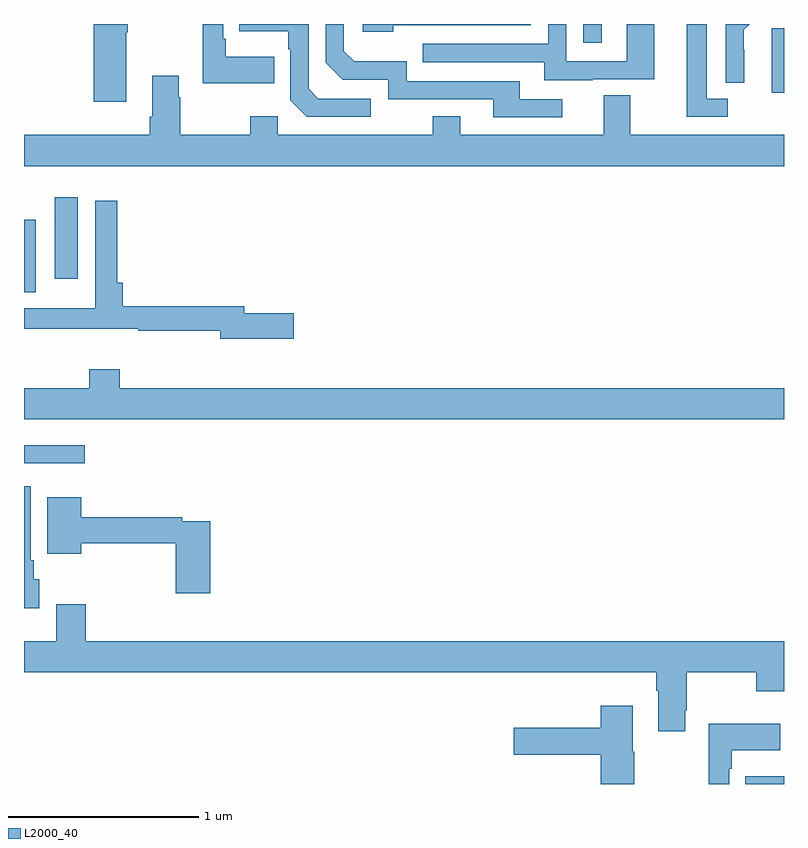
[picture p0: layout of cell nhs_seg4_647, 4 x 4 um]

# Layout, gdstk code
import gdstk
lib = gdstk.Library(unit=1e-6, precision=1e-09)
def R(c, l, rs):  # rectangles x0, y0, x1, y1
    for r in rs: c.add(gdstk.rectangle(r[:2], r[2:], *l))
def P(c, l, *ps):  # polygons
    for p in ps: c.add(gdstk.Polygon(p, *l))
L2000_40 = (2000, 40)

nhs_seg4_647 = lib.new_cell('nhs_seg4_647')
R(nhs_seg4_647, L2000_40, [(146.797,794.9,147,794.941), (143,796.587,143.32,796.684), (143,797.488,143.062,797.869), (143.162,797.559,143.284,797.989), (146.936,798.537,147,798.877), (145.944,798.801,146.041,798.9)])
P(nhs_seg4_647, L2000_40, [(143.539,798.857),(143.547,798.857),(143.547,798.9),(143.366,798.9),(143.366,798.492),(143.539,798.492)],
  [(145.993,798.609),(146.317,798.609),(146.317,798.9),(146.172,798.9),(146.172,798.705),(145.854,798.705),(145.854,798.9),(145.758,798.9),(145.758,798.795),(145.099,798.795),(145.099,798.699),(145.739,798.699),(145.739,798.605),(145.993,798.605)],
  [(145.834,798.504),(145.609,798.504),(145.609,798.6),(145.014,798.6),(145.014,798.703),(144.737,798.703),(144.684,798.756),(144.684,798.9),(144.588,798.9),(144.588,798.696),(144.678,798.606),(144.918,798.606),(144.918,798.504),(145.469,798.504),(145.469,798.408),(145.834,798.408)],
  [(144.317,798.727),(144.061,798.727),(144.061,798.823),(144.048,798.823),(144.048,798.9),(143.94,798.9),(143.94,798.587),(144.317,798.587)],
  [(144.944,798.894),(145.668,798.894),(145.668,798.9),(144.783,798.9),(144.783,798.86),(144.944,798.86)],
  [(146.791,798.764),(146.789,798.764),(146.789,798.869),(146.82,798.9),(146.694,798.9),(146.694,798.592),(146.791,798.592)],
  [(146.704,798.507),(146.593,798.507),(146.593,798.9),(146.489,798.9),(146.489,798.411),(146.704,798.411)],
  [(144.826,798.507),(144.549,798.507),(144.498,798.558),(144.498,798.9),(144.133,798.9),(144.133,798.863),(144.39,798.863),(144.39,798.767),(144.402,798.767),(144.402,798.498),(144.489,798.411),(144.826,798.411)],
  [(147,798.316),(146.191,798.316),(146.191,798.524),(146.051,798.524),(146.051,798.316),(145.297,798.316),(145.297,798.415),(145.15,798.415),(145.15,798.316),(144.336,798.316),(144.336,798.415),(144.19,798.415),(144.19,798.316),(143.823,798.316),(143.823,798.515),(143.815,798.515),(143.815,798.628),(143.675,798.628),(143.675,798.412),(143.663,798.412),(143.663,798.316),(143,798.316),(143,798.152),(147,798.152)],
  [(144.421,797.378),(144.16,797.378),(144.16,797.414),(143.519,797.414),(143.519,797.539),(143.492,797.539),(143.492,797.971),(143.376,797.971),(143.376,797.404),(143.166,797.404),(143.166,797.403),(143,797.403),(143,797.295),(143.4,797.295),(143.4,797.297),(143.602,797.297),(143.602,797.286),(144.032,797.286),(144.032,797.243),(144.421,797.243)],
  [(147,796.984),(143.504,796.984),(143.504,797.083),(143.344,797.083),(143.344,796.984),(143,796.984),(143,796.82),(147,796.82)],
  [(143.08,795.978),(143.05,795.978),(143.05,796.078),(143.035,796.078),(143.035,796.468),(143,796.468),(143,795.824),(143.08,795.824)],
  [(143.981,796.284),(143.834,796.284),(143.834,796.304),(143.302,796.304),(143.302,796.408),(143.123,796.408),(143.123,796.112),(143.302,796.112),(143.302,796.168),(143.798,796.168),(143.798,795.903),(143.981,795.903)],
  [(146.479,795.289),(146.487,795.289),(146.487,795.488),(146.854,795.488),(146.854,795.389),(147,795.389),(147,795.652),(143.324,795.652),(143.324,795.847),(143.171,795.847),(143.171,795.652),(143,795.652),(143,795.488),(146.327,795.488),(146.327,795.392),(146.339,795.392),(146.339,795.177),(146.479,795.177)],
  [(146.211,795.069),(146.203,795.069),(146.203,795.313),(146.036,795.313),(146.036,795.195),(145.578,795.195),(145.578,795.053),(146.036,795.053),(146.036,794.9),(146.211,794.9)],
  [(146.712,794.981),(146.725,794.981),(146.725,795.077),(146.981,795.077),(146.981,795.217),(146.604,795.217),(146.604,794.9),(146.712,794.9)])

lib.write_gds('nhs_seg4_647.gds')
